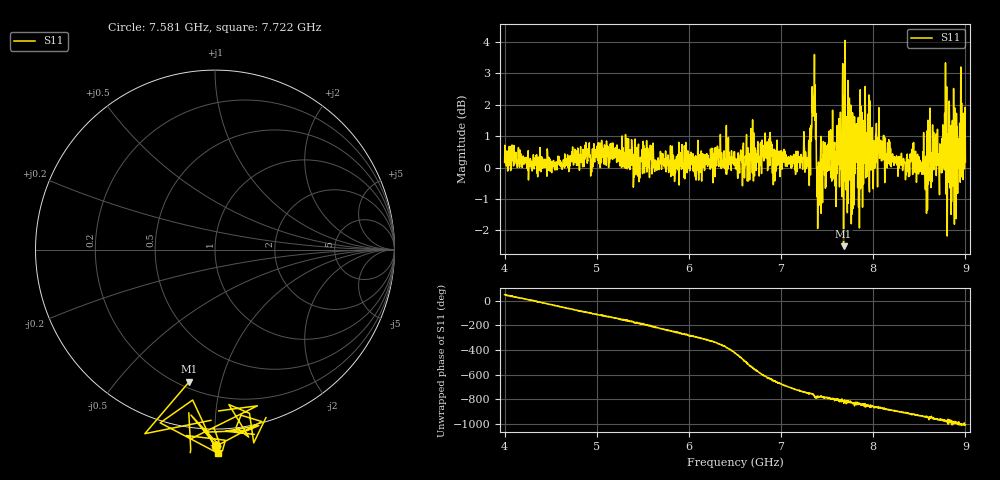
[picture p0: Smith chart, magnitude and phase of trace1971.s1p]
! Created with skrf 1.8.0 (http://scikit-rf.org).
# Hz S RI R 50.0
!freq ReS11 ImS11
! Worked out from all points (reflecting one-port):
!   1601 points, 4 GHz to 9 GHz, reference 50 ohm
!   lowest |S11| = -2.5 dB at 7.678 GHz (marker M1), VSWR 6.99, Z = 11.9 - j39.8 ohm
!   phase of S11 starts at 50 deg and turns -1055 deg over the sweep
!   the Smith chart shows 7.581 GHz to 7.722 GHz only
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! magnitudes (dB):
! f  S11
! 4 GHz  0.2
! 4.625 GHz  -0.1
! 5.25 GHz  0.1
! 5.875 GHz  0.1
! 6.5 GHz  0.3
! 7.125 GHz  0.3
! 7.294 GHz  0.2
! 7.347 GHz  1.8
! 7.362 GHz  3.6
! 7.397 GHz  -1.9
! 7.412 GHz  -1.2
! 7.516 GHz  0.8
! 7.609 GHz  1.3
! 7.678 GHz  -2.5
! 7.691 GHz  0.7
! 7.75 GHz  0.0
! 7.875 GHz  0.4
! 7.928 GHz  1.1
! 7.981 GHz  0.1
! 8.05 GHz  1.0
! 8.375 GHz  0.1
! 8.578 GHz  -1.5
! 8.666 GHz  0.6
! 8.728 GHz  0.3
! 8.775 GHz  1.7
! 8.856 GHz  0.3
! 8.972 GHz  0.8
! 9 GHz  0.2
